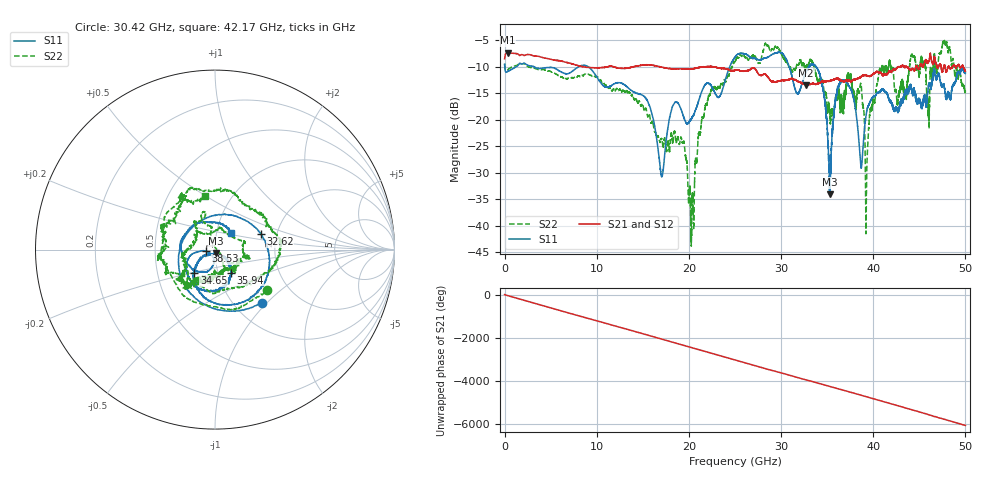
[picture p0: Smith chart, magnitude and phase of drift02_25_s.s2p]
!Created with skrf (http://scikit-rf.org).
# Hz S RI R 50.0
!freq ReS11 ImS11 ReS21 ImS21 ReS12 ImS12 ReS22 ImS22
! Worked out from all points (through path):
!   10001 points, 300 kHz to 50 GHz, reference 50 ohm
!   highest |S21| = -7.32 dB at 325.3 MHz (marker M1); lowest = -13.5 dB at 32.72 GHz (marker M2)
!   group delay of S21, straight-line fit = 335 ps
!   lowest |S11| = -34.1 dB at 35.31 GHz (marker M3), VSWR 1.04, Z = 50.6 - j1.91 ohm
!   |S11| at or under -10 dB: 3.233 GHz to 8.004 GHz (4.771 GHz wide, 84.9 % of centre); 9.106 GHz to 24.41 GHz (15.31 GHz wide, 91.3 % of centre); 33.83 GHz to end of sweep (the widest 3 of 8)
!   |S22| runs from -43.8 to -5.0 dB; largest |S21 - S12| = 0.015
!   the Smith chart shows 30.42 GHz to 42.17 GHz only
!   S11 on the Smith chart (normalised r, x): 30.42 GHz: 1.33, -0.93; 32.62 GHz: 1.65, +0.31; 34.65 GHz: 0.77, -0.20; 35.94 GHz: 1.15, -0.30; 38.53 GHz: 0.90, -0.02; 42.17 GHz: 1.18, +0.22
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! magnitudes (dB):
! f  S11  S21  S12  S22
! 300 kHz  -9.5  -8.5  -8.4  -9.4
! 325.3 MHz  -10.9  -7.3  -7.3  -10.6
! 8.335 GHz  -9.7  -9.9  -9.9  -11.6
! 16.67 GHz  -25.8  -9.9  -9.9  -23.1
! 19.31 GHz  -18.8  -10.4  -10.4  -24.4
! 20.35 GHz  -19.5  -10.3  -10.4  -34.5
! 21.93 GHz  -13.1  -9.9  -10.0  -17.2
! 25 GHz  -8.1  -10.6  -10.6  -9.0
! 30.42 GHz  -8.1  -12.5  -12.5  -8.7
! 32.62 GHz  -11.4  -13.2  -13.3  -10.4
! 32.72 GHz  -11.0  -13.5  -13.5  -10.1
! 33.34 GHz  -9.5  -13.2  -13.2  -9.0
! 34.65 GHz  -15.2  -12.8  -12.7  -14.4
! 35.31 GHz  -34.1  -12.6  -12.5  -19.5
! 35.94 GHz  -16.2  -12.2  -12.3  -15.4
! 38.53 GHz  -25.8  -12.1  -12.0  -14.3
! 39.31 GHz  -18.2  -11.6  -11.6  -28.7
! 41.67 GHz  -16.0  -11.0  -11.1  -9.8
! 42.17 GHz  -17.7  -10.5  -10.4  -10.3
! 45.97 GHz  -13.8  -9.1  -9.1  -18.3
! 47.77 GHz  -14.3  -9.8  -9.8  -5.3
! 50 GHz  -11.2  -10.8  -10.9  -14.5
